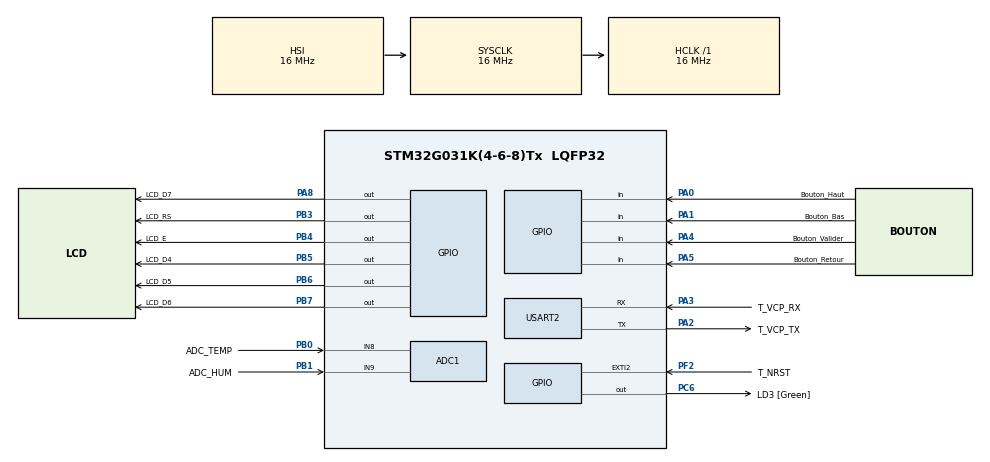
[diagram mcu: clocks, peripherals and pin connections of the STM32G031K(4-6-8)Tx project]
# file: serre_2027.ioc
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ADC1.Channel-0\#ChannelRegularConversion=ADC_CHANNEL_8
ADC1.NbrOfConversionFlag=1
ADC1.Rank-0\#ChannelRegularConversion=1
ADC1.SamplingTime-0\#ChannelRegularConversion=ADC_SAMPLINGTIME_COMMON_1
ADC1.SelectedChannel=ADC_CHANNEL_8|ADC_CHANNEL_9
ADC1.master=1
Mcu.Family=STM32G0
Mcu.Name=STM32G031K(4-6-8)Tx
Mcu.Package=LQFP32
PA0.GPIO_Label=Bouton_Haut
PA0.GPIO_PuPd=GPIO_PULLUP
PA0.Signal=GPIO_Input
PA1.GPIO_Label=Bouton_Bas
PA1.GPIO_PuPd=GPIO_PULLUP
PA1.Signal=GPIO_Input
PA13.GPIO_Label=T_JTMS
PA13.Mode=Serial_Wire
PA13.Signal=SYS_SWDIO
PA14-BOOT0.GPIO_Label=T_JTCK
PA14-BOOT0.Mode=Serial_Wire
PA14-BOOT0.Signal=SYS_SWCLK
PA2.GPIO_Label=T_VCP_TX
PA2.GPIO_PuPd=GPIO_PULLUP
PA2.Mode=Asynchronous
PA2.Signal=USART2_TX
PA3.GPIO_Label=T_VCP_RX
PA3.GPIO_PuPd=GPIO_PULLUP
PA3.Mode=Asynchronous
PA3.Signal=USART2_RX
PA4.GPIO_Label=Bouton_Valider
PA4.GPIO_PuPd=GPIO_PULLUP
PA4.Signal=GPIO_Input
PA5.GPIO_Label=Bouton_Retour
PA5.GPIO_PuPd=GPIO_PULLUP
PA5.Signal=GPIO_Input
PA8.GPIO_Label=LCD_D7
PA8.Signal=GPIO_Output
PB0.GPIO_Label=ADC_TEMP
PB0.Mode=IN8
PB0.Signal=ADC1_IN8
PB1.GPIO_Label=ADC_HUM
PB1.Mode=IN9
PB1.Signal=ADC1_IN9
PB3.GPIO_Label=LCD_RS
PB3.Signal=GPIO_Output
PB4.GPIO_Label=LCD_E
PB4.Signal=GPIO_Output
PB5.GPIO_Label=LCD_D4
PB5.Signal=GPIO_Output
PB6.GPIO_Label=LCD_D5
PB6.Signal=GPIO_Output
PB7.GPIO_Label=LCD_D6
PB7.Signal=GPIO_Output
PB8.GPIO_Label=PWM_Pompe
PB8.Signal=S_TIM16_CH1
PB9.GPIO_Label=PWM_Ventilo
PB9.Signal=S_TIM17_CH1
PC14-OSC32_IN\ (PC14).Mode=LSE-External-Oscillator
PC14-OSC32_IN\ (PC14).Signal=RCC_OSC32_IN
PC15-OSC32_OUT\ (PC15).Mode=LSE-External-Oscillator
PC15-OSC32_OUT\ (PC15).Signal=RCC_OSC32_OUT
PC6.GPIO_Label=LD3 [Green]
PC6.Signal=GPIO_Output
PF2\ -\ NRST.GPIO_Label=T_NRST
PF2\ -\ NRST.Signal=GPXTI2
ProjectManager.HeapSize=0x200
ProjectManager.StackSize=0x400
ProjectManager.TargetToolchain=STM32CubeIDE
RCC.AHBFreq_Value=16000000
RCC.CortexFreq_Value=16000000
RCC.EXTERNAL_CLOCK_VALUE=12288000
RCC.HCLKFreq_Value=16000000
RCC.HSE_VALUE=8000000
RCC.HSI_VALUE=16000000
RCC.SYSCLKFreq_VALUE=16000000
RCC.VCOOutputFreq_Value=128000000
SH.S_TIM16_CH1.0=TIM16_CH1
SH.S_TIM17_CH1.0=TIM17_CH1
USART2.VirtualMode-Asynchronous=VM_ASYNC
USART2.WordLength=WORDLENGTH_7B
board=NUCLEO-G031K8

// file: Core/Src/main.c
/* USER CODE BEGIN Header */
/**
  ******************************************************************************
  * @file           : main.c
  * @brief          : Main program body
  ******************************************************************************
  * @attention
  *
  * Copyright (c) 2026 STMicroelectronics.
  * All rights reserved.
  *
  * This software is licensed under terms that can be found in the LICENSE file
  * in the root directory of this software component.
  * If no LICENSE file comes with this software, it is provided AS-IS.
  *
  ******************************************************************************
  */
/* USER CODE END Header */
#include "main.h"

/* USER CODE BEGIN Includes */
#include "lcd.h"
#include "capteur.h"
#include <stdio.h>
/* USER CODE END Includes */

ADC_HandleTypeDef hadc1;

UART_HandleTypeDef huart2;

/* USER CODE BEGIN PV */
volatile float v_temp_test = 0.0f;
volatile float temp_test = 0.0f;
volatile float hum_test = 0.0f;
volatile float v_hum_test = 0.0f;
/* USER CODE END PV */

void SystemClock_Config(void);
static void MX_GPIO_Init(void);
static void MX_USART2_UART_Init(void);
static void MX_ADC1_Init(void);

int main(void)
{

  /* MCU Configuration--------------------------------------------------------*/

  /* Reset of all peripherals, Initializes the Flash interface and the Systick. */
  HAL_Init();

  /* Configure the system clock */
  SystemClock_Config();

  /* Initialize all configured peripherals */
  MX_GPIO_Init();
  MX_USART2_UART_Init();
  MX_ADC1_Init();
  /* USER CODE BEGIN 2 */
  lcd_init();
  lcd_write_line(0, "Test LCD OK");
  uint32_t t_last = HAL_GetTick();

  Capteur_Init(&hadc1);
  /* USER CODE END 2 */

  /* Infinite loop */
  while (1)
  {

    /* USER CODE BEGIN 3 */
	if ((HAL_GetTick() - t_last) >= 500U)
		{
	        char buf[17];
	        t_last = HAL_GetTick();
	        snprintf(buf, sizeof(buf), "t=%lu s", (unsigned long)(t_last / 1000U));
	        lcd_write_line(1, buf);
	        HAL_GPIO_TogglePin(LD3_GPIO_Port, LD3_Pin);
		}
	char msg[64];
	int len;

	temp_test = Capteur_LireTemperature();
	hum_test  = Capteur_LireHumidite();
	v_hum_test = Capteur_LireTensionHumidite();
	v_temp_test = Capteur_LireTensionTemperature();

	len = snprintf(msg, sizeof(msg), "Temp: %.2f C | Hum: %.1f %%\r\n", temp_test, hum_test);
	if (len > 0) {
	  HAL_UART_Transmit(&huart2, (uint8_t *)msg, (uint16_t)len, 100);
	}

    HAL_GPIO_TogglePin(LD3_GPIO_Port, LD3_Pin);
    HAL_Delay(4000);
   }
  /* USER CODE END 3 */
}

void SystemClock_Config(void)
{
  RCC_OscInitTypeDef RCC_OscInitStruct = {0};
  RCC_ClkInitTypeDef RCC_ClkInitStruct = {0};

  /** Configure the main internal regulator output voltage
  */
  HAL_PWREx_ControlVoltageScaling(PWR_REGULATOR_VOLTAGE_SCALE1);

  /** Initializes the RCC Oscillators according to the specified parameters
  * in the RCC_OscInitTypeDef structure.
  */
  RCC_OscInitStruct.OscillatorType = RCC_OSCILLATORTYPE_HSI;
  RCC_OscInitStruct.HSIState = RCC_HSI_ON;
  RCC_OscInitStruct.HSIDiv = RCC_HSI_DIV1;
  RCC_OscInitStruct.HSICalibrationValue = RCC_HSICALIBRATION_DEFAULT;
  RCC_OscInitStruct.PLL.PLLState = RCC_PLL_NONE;
  if (HAL_RCC_OscConfig(&RCC_OscInitStruct) != HAL_OK)
  {
    Error_Handler();
  }

  /** Initializes the CPU, AHB and APB buses clocks
  */
  RCC_ClkInitStruct.ClockType = RCC_CLOCKTYPE_HCLK|RCC_CLOCKTYPE_SYSCLK
                              |RCC_CLOCKTYPE_PCLK1;
  RCC_ClkInitStruct.SYSCLKSource = RCC_SYSCLKSOURCE_HSI;
  RCC_ClkInitStruct.AHBCLKDivider = RCC_SYSCLK_DIV1;
  RCC_ClkInitStruct.APB1CLKDivider = RCC_HCLK_DIV1;

  if (HAL_RCC_ClockConfig(&RCC_ClkInitStruct, FLASH_LATENCY_0) != HAL_OK)
  {
    Error_Handler();
  }
}

static void MX_ADC1_Init(void)
{

  ADC_ChannelConfTypeDef sConfig = {0};

  /** Configure the global features of the ADC (Clock, Resolution, Data Alignment and number of conversion)
  */
  hadc1.Instance = ADC1;
  hadc1.Init.ClockPrescaler = ADC_CLOCK_SYNC_PCLK_DIV2;
  hadc1.Init.Resolution = ADC_RESOLUTION_12B;
  hadc1.Init.DataAlign = ADC_DATAALIGN_RIGHT;
  hadc1.Init.ScanConvMode = ADC_SCAN_DISABLE;
  hadc1.Init.EOCSelection = ADC_EOC_SINGLE_CONV;
  hadc1.Init.LowPowerAutoWait = DISABLE;
  hadc1.Init.LowPowerAutoPowerOff = DISABLE;
  hadc1.Init.ContinuousConvMode = DISABLE;
  hadc1.Init.NbrOfConversion = 1;
  hadc1.Init.DiscontinuousConvMode = DISABLE;
  hadc1.Init.ExternalTrigConv = ADC_SOFTWARE_START;
  hadc1.Init.ExternalTrigConvEdge = ADC_EXTERNALTRIGCONVEDGE_NONE;
  hadc1.Init.DMAContinuousRequests = DISABLE;
  hadc1.Init.Overrun = ADC_OVR_DATA_PRESERVED;
  hadc1.Init.SamplingTimeCommon1 = ADC_SAMPLETIME_1CYCLE_5;
  hadc1.Init.SamplingTimeCommon2 = ADC_SAMPLETIME_1CYCLE_5;
  hadc1.Init.OversamplingMode = DISABLE;
  hadc1.Init.TriggerFrequencyMode = ADC_TRIGGER_FREQ_HIGH;
  if (HAL_ADC_Init(&hadc1) != HAL_OK)
  {
    Error_Handler();
  }

  /** Configure Regular Channel
  */
  sConfig.Channel = ADC_CHANNEL_8;
  sConfig.Rank = ADC_REGULAR_RANK_1;
  sConfig.SamplingTime = ADC_SAMPLINGTIME_COMMON_1;
  if (HAL_ADC_ConfigChannel(&hadc1, &sConfig) != HAL_OK)
  {
    Error_Handler();
  }

}

static void MX_USART2_UART_Init(void)
{

  huart2.Instance = USART2;
  huart2.Init.BaudRate = 115200;
  huart2.Init.WordLength = UART_WORDLENGTH_7B;
  huart2.Init.StopBits = UART_STOPBITS_1;
  huart2.Init.Parity = UART_PARITY_NONE;
  huart2.Init.Mode = UART_MODE_TX_RX;
  huart2.Init.HwFlowCtl = UART_HWCONTROL_NONE;
  huart2.Init.OverSampling = UART_OVERSAMPLING_16;
  huart2.Init.OneBitSampling = UART_ONE_BIT_SAMPLE_DISABLE;
  huart2.Init.ClockPrescaler = UART_PRESCALER_DIV1;
  huart2.AdvancedInit.AdvFeatureInit = UART_ADVFEATURE_NO_INIT;
  if (HAL_UART_Init(&huart2) != HAL_OK)
  {
    Error_Handler();
  }

}

static void MX_GPIO_Init(void)
{
  GPIO_InitTypeDef GPIO_InitStruct = {0};

  /* GPIO Ports Clock Enable */
  __HAL_RCC_GPIOB_CLK_ENABLE();
  __HAL_RCC_GPIOC_CLK_ENABLE();
  __HAL_RCC_GPIOF_CLK_ENABLE();
  __HAL_RCC_GPIOA_CLK_ENABLE();

  /*Configure GPIO pin Output Level */
  HAL_GPIO_WritePin(LCD_D7_GPIO_Port, LCD_D7_Pin, GPIO_PIN_RESET);

  /*Configure GPIO pin Output Level */
  HAL_GPIO_WritePin(LD3_GPIO_Port, LD3_Pin, GPIO_PIN_RESET);

  /*Configure GPIO pin Output Level */
  HAL_GPIO_WritePin(GPIOB, LCD_RS_Pin|LCD_E_Pin|LCD_D4_Pin|LCD_D5_Pin
                          |LCD_D6_Pin, GPIO_PIN_RESET);

  /*Configure GPIO pin : PWM_Ventilo_Pin */
  GPIO_InitStruct.Pin = PWM_Ventilo_Pin;
  GPIO_InitStruct.Mode = GPIO_MODE_AF_PP;
  GPIO_InitStruct.Pull = GPIO_NOPULL;
  GPIO_InitStruct.Speed = GPIO_SPEED_FREQ_LOW;
  GPIO_InitStruct.Alternate = GPIO_AF2_TIM17;
  HAL_GPIO_Init(PWM_Ventilo_GPIO_Port, &GPIO_InitStruct);

  /*Configure GPIO pin : T_NRST_Pin */
  GPIO_InitStruct.Pin = T_NRST_Pin;
  GPIO_InitStruct.Mode = GPIO_MODE_IT_RISING;
  GPIO_InitStruct.Pull = GPIO_NOPULL;
  HAL_GPIO_Init(T_NRST_GPIO_Port, &GPIO_InitStruct);

  /*Configure GPIO pins : Bouton_Haut_Pin Bouton_Bas_Pin Bouton_Valider_Pin Bouton_Retour_Pin */
  GPIO_InitStruct.Pin = Bouton_Haut_Pin|Bouton_Bas_Pin|Bouton_Valider_Pin|Bouton_Retour_Pin;
  GPIO_InitStruct.Mode = GPIO_MODE_INPUT;
  GPIO_InitStruct.Pull = GPIO_PULLUP;
  HAL_GPIO_Init(GPIOA, &GPIO_InitStruct);

  /*Configure GPIO pin : LCD_D7_Pin */
  GPIO_InitStruct.Pin = LCD_D7_Pin;
  GPIO_InitStruct.Mode = GPIO_MODE_OUTPUT_PP;
  GPIO_InitStruct.Pull = GPIO_NOPULL;
  GPIO_InitStruct.Speed = GPIO_SPEED_FREQ_LOW;
  HAL_GPIO_Init(LCD_D7_GPIO_Port, &GPIO_InitStruct);

  /*Configure GPIO pin : LD3_Pin */
  GPIO_InitStruct.Pin = LD3_Pin;
  GPIO_InitStruct.Mode = GPIO_MODE_OUTPUT_PP;
  GPIO_InitStruct.Pull = GPIO_NOPULL;
  GPIO_InitStruct.Speed = GPIO_SPEED_FREQ_LOW;
  HAL_GPIO_Init(LD3_GPIO_Port, &GPIO_InitStruct);

  /*Configure GPIO pins : LCD_RS_Pin LCD_E_Pin LCD_D4_Pin LCD_D5_Pin
                           LCD_D6_Pin */
  GPIO_InitStruct.Pin = LCD_RS_Pin|LCD_E_Pin|LCD_D4_Pin|LCD_D5_Pin
                          |LCD_D6_Pin;
  GPIO_InitStruct.Mode = GPIO_MODE_OUTPUT_PP;
  GPIO_InitStruct.Pull = GPIO_NOPULL;
  GPIO_InitStruct.Speed = GPIO_SPEED_FREQ_LOW;
  HAL_GPIO_Init(GPIOB, &GPIO_InitStruct);

  /*Configure GPIO pin : PWM_Pompe_Pin */
  GPIO_InitStruct.Pin = PWM_Pompe_Pin;
  GPIO_InitStruct.Mode = GPIO_MODE_AF_PP;
  GPIO_InitStruct.Pull = GPIO_NOPULL;
  GPIO_InitStruct.Speed = GPIO_SPEED_FREQ_LOW;
  GPIO_InitStruct.Alternate = GPIO_AF2_TIM16;
  HAL_GPIO_Init(PWM_Pompe_GPIO_Port, &GPIO_InitStruct);

}

void Error_Handler(void)
{
  __disable_irq();
  while (1)
  {
  }
}
